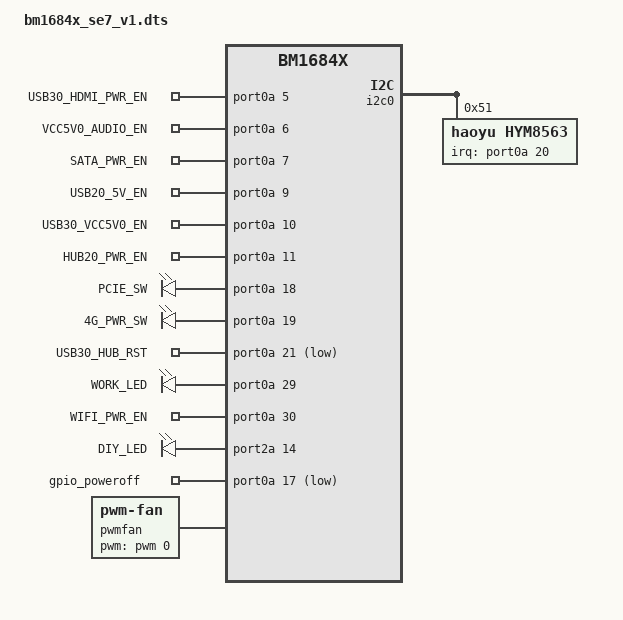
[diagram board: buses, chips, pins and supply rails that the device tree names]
#include "bm1684x.dtsi"
#include "bm1684x_mm_16g.dtsi"
#include "bm1684x_evb.dtsi"
#include <dt-bindings/input/input.h>

/ {
	/delete-node/ pka@58008000;
	/delete-node/ clp890@50018000;
	/delete-node/ tach@50029028;
	info {
		file-name = "bm1684x_se7_v1.dts";
	};
};

&vpu_reserved {
	reg = <0x3 0x40000000 0x0 0x08000000>; // 128M, for VPU firmware
	no-map;
};

&ion_for_vpu {
			compatible = "vpu-region";
			reg = <0x3 0x48000000 0x0 0xb8000000>; // 3G
};

&ion_for_npu {
			compatible = "npu-region";
			reg = <0x1 0x24100000 0x0 0x96e00000>; // 2.5g
};

/ {
	fl2000-custom {
		compatible = "fl2000-custom";
	};

	gpiokeys: gpio-keys {
		compatible = "gpio-keys";
		status = "okay";

		/*
		gpio24 {
			label = "GPIO Power Key";
			linux,code = <KEY_POWER>;
			gpios = <&port0a 24 GPIO_ACTIVE_LOW>;
		};
		*/
	};

	gpioleds: gpio-leds {
		compatible = "gpio-leds";
		pinctrl-names = "default";
		pinctrl-0 = <&fan1_release &jtag1_release &dbgi2c_release>;
		status = "okay";

		gpio5 {
			label = "USB30_HDMI_PWR_EN";
			gpios = <&port0a 5 GPIO_ACTIVE_HIGH>;
			default-state = "off";
		};

		gpio6 {
			label = "VCC5V0_AUDIO_EN";
			gpios = <&port0a 6 GPIO_ACTIVE_HIGH>;
			default-state = "off";
		};

		gpio7 {
			label = "SATA_PWR_EN";
			gpios = <&port0a 7 GPIO_ACTIVE_HIGH>;
			default-state = "off";
		};

		gpio9 {
			label = "USB20_5V_EN";
			gpios = <&port0a 9 GPIO_ACTIVE_HIGH>;
			default-state = "off";
		};

		gpio10 {
			label = "USB30_VCC5V0_EN";
			gpios = <&port0a 10 GPIO_ACTIVE_HIGH>;
			default-state = "off";
		};

		gpio11 {
			label = "HUB20_PWR_EN";
			gpios = <&port0a 11 GPIO_ACTIVE_HIGH>;
			default-state = "off";
		};

		gpio18 {
			label = "PCIE_SW";
			gpios = <&port0a 18 GPIO_ACTIVE_HIGH>;
			default-state = "off";
		};

		gpio19 {
			label = "4G_PWR_SW";
			gpios = <&port0a 19 GPIO_ACTIVE_HIGH>;
			default-state = "off";
		};

		gpio21 {
			label = "USB30_HUB_RST";
			gpios = <&port0a 21 GPIO_ACTIVE_LOW>;
			default-state = "off";
		};

		gpio29 {
			label = "WORK_LED";
			gpios = <&port0a 29 GPIO_ACTIVE_HIGH>; /* DBG_IIC_SCL/GPIO29 */
			default-state = "on";
		};

		gpio30 {
			label = "WIFI_PWR_EN";
			gpios = <&port0a 30 GPIO_ACTIVE_HIGH>; /* DBG_IIC_SDA/GPIO30 */
			default-state = "off";
		};

		gpio78 {
			label = "DIY_LED";
			gpios = <&port2a 14 GPIO_ACTIVE_HIGH>; /* FAN1 / GPIO78 */
			default-state = "off";
		};
	};

	/* EXT_PWR_EN */
	gpio_poweroff {
		compatible = "gpio-poweroff";
		gpios = <&port0a 17 GPIO_ACTIVE_LOW>;
                input;
	};

	pwmfan: pwm-fan {
		compatible = "pwm-fan";
		pinctrl-names = "default";
		pinctrl-0 = <&pwm0_acquire>;
		pwms = <&pwm 0 40000>; // period_ns
		pwm-names = "pwm0";
		pwm_inuse = "pwm0";
		#cooling-cells = <2>;
		cooling-levels = <0 160 192 224 255>;  //total 255
	};

};

&ethernet0 {
	eth-sophgo-config {
		led = <0xae00>;
		clkout = <0x0e02>;
	};
};

&ethernet1 {
	eth-sophgo-config {
		led = <0xae00>;
		clkout = <0x0e02>;
	};
};

&i2c0 {
	hym8563: hym8563@51 {
		compatible = "haoyu,hym8563";
		reg = <0x51>;
        pinctrl-names = "default";
        pinctrl-0 = <&jtag0_release>;
        /* RTCIC_INT_L -> GPIO20 */
		interrupts = <20 IRQ_TYPE_LEVEL_HIGH>;
		interrupt-parent = <&port0a>;
	};
};

&i2c1 {
	/delete-node/ rtc@68;
};
